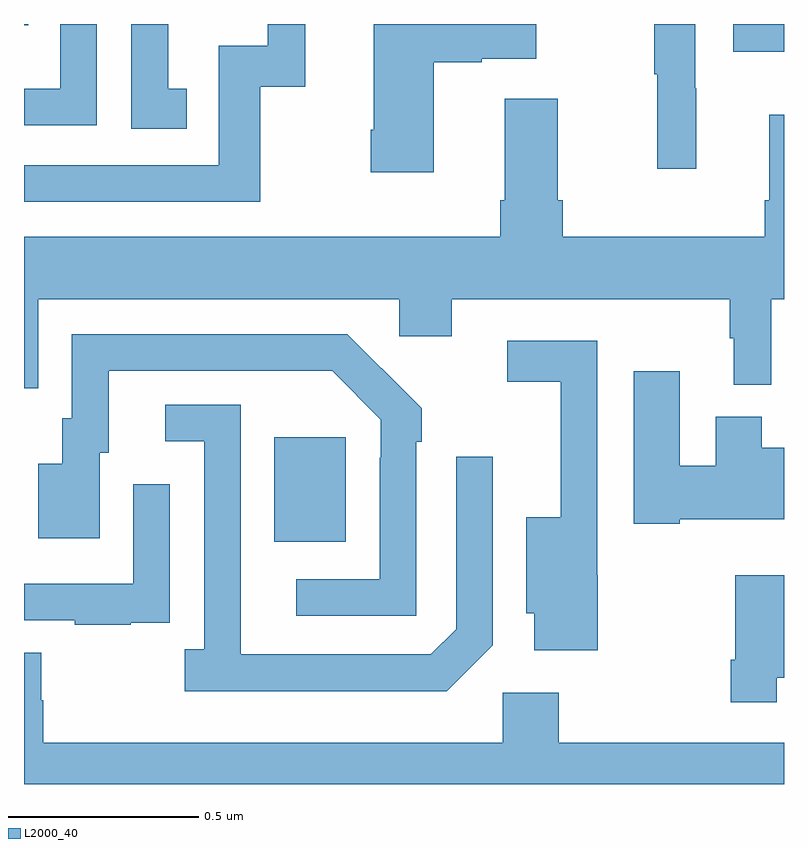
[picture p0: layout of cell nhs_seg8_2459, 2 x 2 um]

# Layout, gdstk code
import gdstk
lib = gdstk.Library(unit=1e-6, precision=1e-09)
def R(c, l, rs):  # rectangles x0, y0, x1, y1
    for r in rs: c.add(gdstk.rectangle(r[:2], r[2:], *l))
def P(c, l, *ps):  # polygons
    for p in ps: c.add(gdstk.Polygon(p, *l))
L2000_40 = (2000, 40)

nhs_seg8_2459 = lib.new_cell('nhs_seg8_2459')
R(nhs_seg8_2459, L2000_40, [(144.659,1106.537,144.847,1106.812), (145.866,1107.827,146,1107.9), (144,1107.897,144.011,1107.9)])
P(nhs_seg8_2459, L2000_40, [(145.078,1107.799),(145.205,1107.799),(145.205,1107.809),(145.348,1107.809),(145.348,1107.9),(144.92,1107.9),(144.92,1107.622),(144.913,1107.622),(144.913,1107.51),(145.078,1107.51)],
  [(145.769,1107.731),(145.767,1107.731),(145.767,1107.9),(145.659,1107.9),(145.659,1107.768),(145.666,1107.768),(145.666,1107.519),(145.769,1107.519)],
  [(144.622,1107.735),(144.74,1107.735),(144.74,1107.9),(144.642,1107.9),(144.642,1107.843),(144.513,1107.843),(144.513,1107.528),(144,1107.528),(144,1107.432),(144.622,1107.432)],
  [(144.192,1107.9),(144.096,1107.9),(144.096,1107.73),(144,1107.73),(144,1107.633),(144.192,1107.633)],
  [(144.428,1107.729),(144.379,1107.729),(144.379,1107.9),(144.282,1107.9),(144.282,1107.624),(144.428,1107.624)],
  [(144.037,1107.176),(144.987,1107.176),(144.987,1107.078),(145.126,1107.078),(145.126,1107.176),(145.857,1107.176),(145.857,1107.073),(145.868,1107.073),(145.868,1106.951),(145.967,1106.951),(145.967,1107.176),(146,1107.176),(146,1107.661),(145.961,1107.661),(145.961,1107.436),(145.949,1107.436),(145.949,1107.34),(145.418,1107.34),(145.418,1107.436),(145.405,1107.436),(145.405,1107.703),(145.265,1107.703),(145.265,1107.436),(145.253,1107.436),(145.253,1107.34),(144,1107.34),(144,1106.941),(144.037,1106.941)],
  [(145.032,1106.801),(145.047,1106.801),(145.047,1106.889),(144.942,1106.994),(144.941,1106.993),(144.85,1107.084),(144.126,1107.084),(144.126,1106.862),(144.101,1106.862),(144.101,1106.743),(144.038,1106.743),(144.038,1106.547),(144.199,1106.547),(144.199,1106.772),(144.223,1106.772),(144.223,1106.988),(144.811,1106.988),(144.939,1106.859),(144.939,1106.759),(144.936,1106.759),(144.936,1106.439),(144.717,1106.439),(144.717,1106.343),(145.032,1106.343)],
  [(145.51,1106.449),(145.509,1106.449),(145.509,1107.066),(145.272,1107.066),(145.272,1106.958),(145.412,1106.958),(145.412,1106.602),(145.322,1106.602),(145.322,1106.349),(145.343,1106.349),(145.343,1106.252),(145.51,1106.252)],
  [(145.726,1106.597),(146,1106.597),(146,1106.785),(145.942,1106.785),(145.942,1106.866),(145.82,1106.866),(145.82,1106.737),(145.726,1106.737),(145.726,1106.986),(145.604,1106.986),(145.604,1106.585),(145.726,1106.585)],
  [(145.233,1106.265),(145.233,1106.761),(145.137,1106.761),(145.137,1106.307),(145.071,1106.241),(144.571,1106.241),(144.571,1106.441),(144.57,1106.441),(144.57,1106.898),(144.372,1106.898),(144.372,1106.802),(144.474,1106.802),(144.474,1106.254),(144.423,1106.254),(144.423,1106.144),(145.112,1106.144)],
  [(144.281,1106.325),(144.383,1106.325),(144.383,1106.434),(144.384,1106.434),(144.384,1106.689),(144.288,1106.689),(144.288,1106.427),(144,1106.427),(144,1106.331),(144.133,1106.331),(144.133,1106.319),(144.281,1106.319)],
  [(145.981,1106.18),(146,1106.18),(146,1106.449),(145.872,1106.449),(145.872,1106.227),(145.86,1106.227),(145.86,1106.115),(145.981,1106.115)],
  [(146,1106.008),(145.407,1106.008),(145.407,1106.14),(145.26,1106.14),(145.26,1106.008),(144.05,1106.008),(144.05,1106.121),(144.045,1106.121),(144.045,1106.246),(144,1106.246),(144,1105.9),(146,1105.9)])

lib.write_gds('nhs_seg8_2459.gds')
